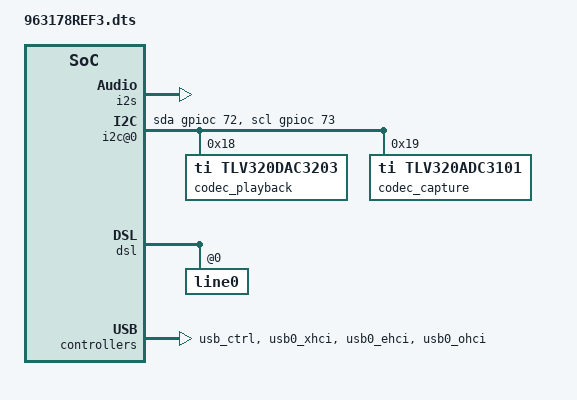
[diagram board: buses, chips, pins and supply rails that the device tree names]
#include "63178.dtsi"
#include "../bcm_voice.dtsi"

/ {
    memory_controller {
        memcfg = <(BP_DDR_SPEED_800_11_11_11 | \
                   BP_DDR_TOTAL_SIZE_512MB   | \
                   BP_DDR_DEVICE_WIDTH_16    | \
                   BP_DDR_TOTAL_WIDTH_16BIT  | \
                   BP_DDR_63178_DEFAULT)>;
    };

	buttons {
		compatible = "brcm,buttons";
		reset_button {
			ext_irq = <&bca_extintr 0 GPIO_ACTIVE_LOW (BCA_EXTINTR_TYPE_LOW_LEVEL | BCA_EXTINTR_TYPE_SENSE_EDGE)>;
			press {
				print = "Button Press -- Hold for 5s to do restore to default";
			};
			hold {
				rst_to_dflt = <5>;
			};
			release {
				reset = <0>;
			};	
		};
		ses_button {
			ext_irq = <&bca_extintr 1 GPIO_ACTIVE_LOW (BCA_EXTINTR_TYPE_LOW_LEVEL | BCA_EXTINTR_TYPE_SENSE_EDGE)>;
			release {
				ses_short_period = <0>;
				ses_long_period = <3>;
			};
		};
	};

	periph {
		i2s: bcm63xx-i2s {
			pinctrl-0 = <&d_i2s_sclk_pin_67 &d_i2s_lrck_pin_68 &d_i2s_rx_sdata_pin_69 &d_i2s_tx_sdata_pin_70 &d_i2s_mclk_pin_71>;
			pinctrl-names = "default";
			compatible = "brcm,bcm63xx-i2s";
			reg = <0x2080 0x21>;
			interrupts = <GIC_SPI 78 IRQ_TYPE_LEVEL_HIGH>;
			clocks = <&i2sclk>, <&osc>;
			clock-names = "i2sclk","i2sosc"; 
		};
	};

	i2c@0 {
		compatible = "i2c-gpio";
		gpios = <&gpioc 72 0 &gpioc 73 0>;/* sda and scl */
		i2c-gpio,delay-us   = <50>;     /* ~10 kHz */
		i2c-gpio,timeout-ms = <100>;    /* 100ms */
		#address-cells = <1>;
		#size-cells = <0>;

		codec_playback:codec_playback@18{
			compatible = "ti,tlv320dac3203";
			reg = <0x18>;
		};
		codec_capture:codec_capture@19{
			compatible = "ti,tlv320adc3101";
			reg = <0x19>;
		};
	};
};

&switch0 {
    /* Port PHY mapping:
            port_imp -8#0- port_gphy0 <--> phy_gphy0
                      # 1- port_gphy1 <--> phy_gphy1
                      # 2- port_gphy2 <--> phy_gphy2
                      # 3- port_gphy3 <--> phy_gphy3
                      ##4- port_gphy4 <--> phy_gphy4
    */
        ports {
                port_gphy0 {
                        network-leds = <&led0 &led1 &led10>;
                        status = "okay";
                };

                port_gphy1 {
                        network-leds = <&led2 &led3 &led11>;
                        status = "okay";
                };

                port_gphy2 {
                        network-leds = <&led4 &led5 &led12>;
                        status = "okay";
                };

                port_gphy3 {
                        network-leds = <&led6 &led7 &led13>;
                        status = "okay";
                };

                port_gphy4 {
                        network-leds = <&led8 &led14>;
                        status = "okay";
                };
    };
};
&legacy_leds {
	adsl-led = <&led16>;
	wan-data-led = <&led15>;
	wan-data-fail-led = <&led17>;
	wl-sess-led = <&led20>;
	wl0-led = <&led21>;
};
&led_ctrl {
    led0: port_0-led-0-pin_55 {
        active_low;
        link = <(LED_SPEED_1G)>;
        status = "okay";
    };
    led1: port_0-led-1-pin_22 {
        active_low;
        link = <(LED_SPEED_100)>;
        status = "okay";
    };
    led2: port_1-led-0-pin_7 {
        active_low;
        link = <(LED_SPEED_1G)>;
        status = "okay";
    };
    led3: port_1-led-1-pin_6 {
        active_low;
        link = <(LED_SPEED_100)>;
        status = "okay";
    };
    led4: port_2-led-0-pin_5 {
        active_low;
        link = <(LED_SPEED_1G)>;
        status = "okay";
    };
    led5: port_2-led-1-pin_9 {
        active_low;
        link = <(LED_SPEED_100)>;
        status = "okay";
    };
    led6: port_3-led-0-pin_56 {
        active_low;
        link = <(LED_SPEED_1G)>;
        status = "okay";
    };
    led7: port_3-led-1-pin_20 {
        active_low;
        link = <(LED_SPEED_100)>;
        status = "okay";
    };
    led8: port_4-led-0-pin_3 {
        active_low;
        link = <(LED_SPEED_1G)>;
        status = "okay";
    };

    led10: port_0-led-3-pin_24 {
        active_low;
        activity = <LED_SPEED_GBE>;
        status = "okay";
    };
    led11: port_1-led-3-pin_8 {
        active_low;
        activity = <LED_SPEED_GBE>;
        status = "okay";
    };
    led12: port_2-led-3-pin_29 {
        active_low;
	activity = <LED_SPEED_GBE>;
        status = "okay";
    };
    led13: port_3-led-3-pin_10 {
        active_low;
        activity = <LED_SPEED_GBE>;
        status = "okay";
    };
    led14: port_4-led-3-pin_21 {
        active_low;
        activity = <LED_SPEED_GBE>;
        status = "okay";
    };
    led15: dsl_act_0-pin_49 {
        active_low;
        status = "okay";
    };
    led16: sw_led_24-pin_25 {
        active_low;
        status = "okay";
    };
    led17: sw_led_31-pin_50 {
        active_low;
        status = "okay";
    };
    led18: sw_led_27-pin_51 {
        active_low;
        status = "okay";
    };
    led19: sw_led_28-pin_52 {
        active_low;
        status = "okay";
    };
    led20: sw_led_29-pin_53 {
        active_low;
        status = "okay";
    };
    led21: sw_led_30-pin_54 {
	compatible = "brcm,gpio-led";
	pin = <54>;
        active_low;
        status = "okay";
    };
    led22: sw_led_10-pin_11 {
	compatible = "brcm,gpio-led";
        active_low;
	init_low;
	pin = <11>;
        status = "okay";
    };

};

&bcm_voice{
	sliclist = "NOSLIC", "LE9642_ZSI_BB";
};

&vreg_sync {
		pinctrl-0 = <&vreg_sync_pin_2>;
		pinctrl-names = "default";
};


&dsl {
	line0@0 {
		pinctrl-0 = <&vdsl_ctrl_0_pin_17 &vdsl_ctrl_1_pin_18 &vdsl_ctrl_2_pin_19>;
		pinctrl-names = "default";

		afeid = <(DSL_AFE_CHIP_CH0 | DSL_AFE_LD_6303 | DSL_AFE_FE_ANNEXA | DSL_AFE_FE_REV_6303_REV_12_3_70)>;
		afe-pwr-ctl = <DSL_AFE_VDSLCTL_0>;
		afe-data-ctl = <DSL_AFE_VDSLCTL_1>;
		afe-clk-ctl = <DSL_AFE_VDSLCTL_2>;
		status = "okay";
	};
};

&usb_ctrl {
	pinctrl-names="default";
	pinctrl-0 = <&usb0a_pwrflt_pin_83 &usb0a_pwron_pin_84>;
	status = "okay";
	xhci-enable;
};

&usb0_xhci {
	status = "okay";
};

&usb0_ehci {
	status = "okay";
};

&usb0_ohci {
	status = "okay";
};

&pincontroller {
	pinctrl-names = "default";
	pinctrl-0 = <&wl_fem_ctrl_0_pin_34 &wl_fem_ctrl_1_pin_35  &wl_fem_ctrl_2_pin_36 &wl_fem_ctrl_6_pin_40 &wl_fem_ctrl_7_pin_41 &wl_fem_ctrl_8_pin_42>;
};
